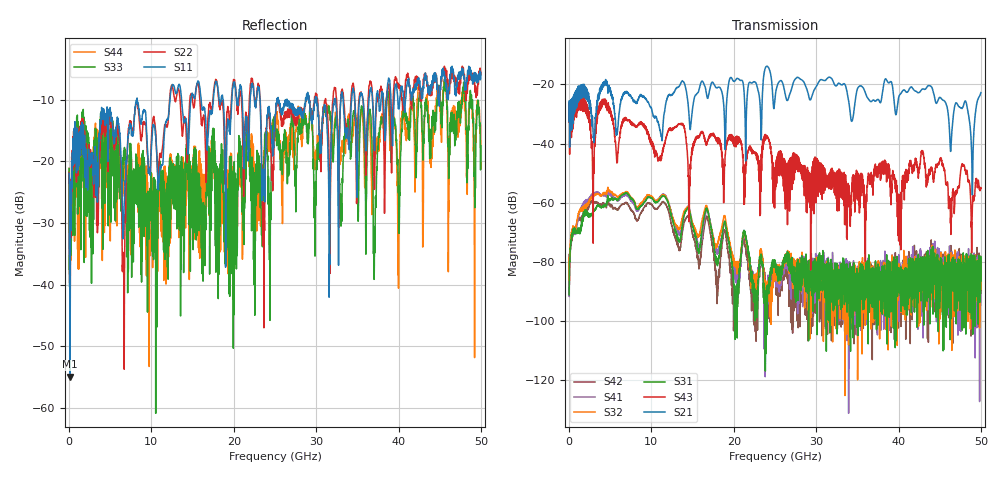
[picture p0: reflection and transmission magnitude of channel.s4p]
!Agilent Technologies,N5247A,US51170199,A.09.90.13
!Agilent N5247A: A.09.90.13
!Date: Wednesday, December 16, 2015 12:42:04
!Correction: S11(Full 4 Port(1,2,3,4))
!S12(Full 4 Port(1,2,3,4))
!S13(Full 4 Port(1,2,3,4))
!S14(Full 4 Port(1,2,3,4))
!S21(Full 4 Port(1,2,3,4))
!S22(Full 4 Port(1,2,3,4))
!S23(Full 4 Port(1,2,3,4))
!S24(Full 4 Port(1,2,3,4))
!S31(Full 4 Port(1,2,3,4))
!S32(Full 4 Port(1,2,3,4))
!S33(Full 4 Port(1,2,3,4))
!S34(Full 4 Port(1,2,3,4))
!S41(Full 4 Port(1,2,3,4))
!S42(Full 4 Port(1,2,3,4))
!S43(Full 4 Port(1,2,3,4))
!S44(Full 4 Port(1,2,3,4))
!S4P File: Measurements: <S11,S12,S13,S14>,
!<S21,S22,S23,S24>,
!<S31,S32,S33,S34>,
!<S41,S42,S43,S44>:
# Hz S  dB  R 50
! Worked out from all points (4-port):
!   3201 points, 10 MHz to 50 GHz, reference 50 ohm
!   strongest paths, dB at 10 MHz, 12.51 GHz, 25 GHz, 37.5 GHz, 50 GHz:
!     S21: -32.5, -23.4, -24.6, -25.0, -22.8
!     S43: -32.7, -34.9, -48.1, -48.5, -54.9
!     S31: -91.2, -65.3, -80.5, -84.9, -86.5
!     S32: -78.6, -64.5, -83.8, -87.3, -79.8
!     S41: -80.9, -63.8, -84.6, -88.2, -85.2
!     S42: -77.6, -67.8, -85.6, -90.0, -90.6
!   lowest |S11| = -55.0 dB at 135 MHz (marker M1), VSWR 1.00, Z = 50 + j0.172 ohm
!   |S11| at or under -10 dB: start of sweep to 8.23 GHz; 8.278 GHz to 12.26 GHz (3.977 GHz wide, 38.7 % of centre); 26.47 GHz to 28.71 GHz (2.24 GHz wide, 8.12 % of centre)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
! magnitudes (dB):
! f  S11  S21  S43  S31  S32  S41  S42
! 10 MHz  -22.0  -32.5  -32.7  -91.2  -78.6  -80.9  -77.6
! 135 MHz  -55.0  -32.8  -33.9  -76.2  -74.0  -74.2  -77.8
! 6.884 GHz  -22.3  -22.9  -31.9  -56.6  -56.2  -57.3  -60.0
! 12.49 GHz  -7.8  -23.6  -35.0  -65.3  -64.3  -64.2  -67.9
! 43.77 GHz  -8.4  -20.4  -50.5  -85.4  -93.5  -87.0  -85.2
! 48.94 GHz  -6.2  -51.9  -65.0  -83.9  -84.8  -83.6  -98.5
! 50 GHz  -5.6  -22.8  -54.9  -86.5  -79.8  -85.2  -90.6
